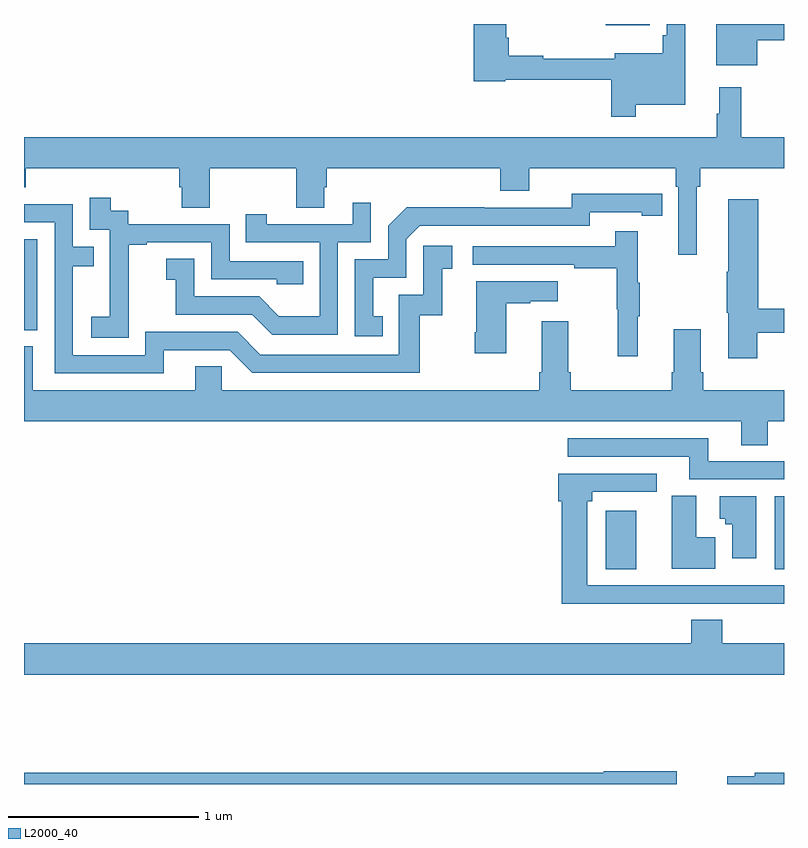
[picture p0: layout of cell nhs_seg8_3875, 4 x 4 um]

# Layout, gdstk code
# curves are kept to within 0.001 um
import gdstk
lib = gdstk.Library(unit=1e-6, precision=1e-09)
def R(c, l, rs):  # rectangles x0, y0, x1, y1
    for r in rs: c.add(gdstk.rectangle(r[:2], r[2:], *l))
def P(c, l, *ps):  # polygons
    for p in ps: c.add(gdstk.Polygon(p, *l))
L2000_40 = (2000, 40)

nhs_seg8_3875 = lib.new_cell('nhs_seg8_3875')
R(nhs_seg8_3875, L2000_40, [(352.061,1141.03,352.222,1141.339), (352.952,1141.03,353,1141.414), (349,1142.289,349.071,1142.766), (352.062,1143.893,352.294,1143.9)])
P(nhs_seg8_3875, L2000_40, [(352.858,1143.815),(353,1143.815),(353,1143.9),(352.643,1143.9),(352.643,1143.683),(352.858,1143.683)],
  [(352.219,1143.476),(352.48,1143.476),(352.48,1143.9),(352.383,1143.9),(352.383,1143.841),(352.363,1143.841),(352.363,1143.745),(352.109,1143.745),(352.109,1143.716),(351.734,1143.716),(351.734,1143.734),(351.551,1143.734),(351.551,1143.828),(351.538,1143.828),(351.538,1143.9),(351.368,1143.9),(351.368,1143.598),(351.534,1143.598),(351.534,1143.606),(352.09,1143.606),(352.09,1143.411),(352.219,1143.411)],
  [(349,1143.041),(349.01,1143.041),(349.01,1143.14),(349.817,1143.14),(349.817,1143.042),(349.829,1143.042),(349.829,1142.932),(349.977,1142.932),(349.977,1143.14),(350.434,1143.14),(350.434,1142.932),(350.581,1142.932),(350.581,1143.042),(350.594,1143.042),(350.594,1143.14),(351.506,1143.14),(351.506,1143.023),(351.658,1143.023),(351.658,1143.14),(352.43,1143.14),(352.43,1143.044),(352.443,1143.044),(352.443,1142.685),(352.54,1142.685),(352.54,1143.044),(352.559,1143.044),(352.559,1143.14),(353,1143.14),(353,1143.304),(352.775,1143.304),(352.775,1143.568),(352.658,1143.568),(352.658,1143.428),(352.647,1143.428),(352.647,1143.304),(349,1143.304)],
  [(350.888,1142.361),(350.839,1142.361),(350.839,1142.565),(351.012,1142.565),(351.012,1142.766),(351.084,1142.838),(351.978,1142.838),(351.978,1142.91),(352.25,1142.91),(352.25,1142.89),(352.358,1142.89),(352.358,1143.006),(351.882,1143.007),(351.882,1142.934),(351.422,1142.934),(351.422,1142.936),(351.014,1142.936),(350.916,1142.838),(350.916,1142.661),(350.742,1142.661),(350.742,1142.256),(350.888,1142.256)],
  [(349.551,1142.455),(349.55,1142.455),(349.55,1142.739),(349.645,1142.739),(349.645,1142.751),(349.986,1142.751),(349.986,1142.556),(350.331,1142.556),(350.331,1142.529),(350.471,1142.529),(350.471,1142.652),(350.082,1142.652),(350.082,1142.847),(349.548,1142.847),(349.548,1142.916),(349.456,1142.916),(349.456,1142.986),(349.347,1142.986),(349.347,1142.817),(349.452,1142.817),(349.452,1142.588),(349.451,1142.588),(349.451,1142.359),(349.353,1142.359),(349.353,1142.249),(349.551,1142.249)],
  [(352.86,1142.274),(353,1142.274),(353,1142.402),(352.865,1142.402),(352.865,1142.977),(352.706,1142.977),(352.706,1142.597),(352.699,1142.597),(352.699,1142.379),(352.706,1142.379),(352.706,1142.142),(352.86,1142.142)],
  [(350.652,1142.751),(350.826,1142.751),(350.826,1142.959),(350.729,1142.959),(350.729,1142.847),(350.278,1142.847),(350.278,1142.899),(350.167,1142.899),(350.167,1142.751),(350.556,1142.751),(350.556,1142.362),(350.342,1142.362),(350.238,1142.466),(349.896,1142.466),(349.896,1142.665),(349.749,1142.665),(349.749,1142.555),(349.798,1142.555),(349.798,1142.37),(350.201,1142.37),(350.306,1142.265),(350.652,1142.265)],
  [(349.735,1142.184),(350.082,1142.184),(350.202,1142.064),(351.082,1142.064),(351.082,1142.367),(351.2,1142.367),(351.2,1142.613),(351.253,1142.613),(351.253,1142.734),(351.102,1142.734),(351.102,1142.475),(350.973,1142.475),(350.973,1142.16),(350.244,1142.16),(350.124,1142.28),(349.638,1142.28),(349.638,1142.157),(349.257,1142.157),(349.257,1142.626),(349.367,1142.626),(349.367,1142.727),(349.257,1142.727),(349.257,1142.952),(349,1142.952),(349,1142.856),(349.161,1142.856),(349.161,1142.061),(349.735,1142.061)],
  [(352.229,1142.363),(352.24,1142.363),(352.24,1142.537),(352.229,1142.537),(352.229,1142.809),(352.111,1142.809),(352.111,1142.73),(351.363,1142.73),(351.363,1142.634),(351.895,1142.634),(351.895,1142.614),(352.119,1142.614),(352.119,1142.4),(352.126,1142.4),(352.126,1142.151),(352.229,1142.151)],
  [(351.538,1142.431),(351.665,1142.431),(351.665,1142.441),(351.808,1142.441),(351.808,1142.545),(351.38,1142.545),(351.38,1142.278),(351.373,1142.278),(351.373,1142.166),(351.538,1142.166)],
  [(352.915,1141.808),(353,1141.808),(353,1141.972),(352.574,1141.972),(352.574,1142.068),(352.561,1142.068),(352.561,1142.293),(352.421,1142.293),(352.421,1142.068),(352.409,1142.068),(352.409,1141.972),(351.878,1141.972),(351.878,1142.068),(351.865,1142.068),(351.865,1142.335),(351.725,1142.335),(351.725,1142.068),(351.713,1142.068),(351.713,1141.972),(350.04,1141.972),(350.04,1142.099),(349.901,1142.099),(349.901,1141.972),(349.045,1141.972),(349.045,1142.204),(349,1142.204),(349,1141.808),(352.775,1141.808),(352.775,1141.684),(352.915,1141.684)],
  [(353,1141.599),(352.6,1141.599),(352.6,1141.719),(351.861,1141.719),(351.861,1141.623),(352.502,1141.623),(352.502,1141.503),(353,1141.503)],
  [(352.427,1140.849),(352.759,1140.849),(352.759,1140.848),(353,1140.848),(353,1140.945),(351.964,1140.945),(351.964,1141.389),(351.99,1141.389),(351.99,1141.437),(352.33,1141.437),(352.33,1141.533),(351.812,1141.533),(351.812,1141.389),(351.83,1141.389),(351.83,1140.848),(352.427,1140.848)],
  [(352.639,1141.2),(352.537,1141.2),(352.537,1141.417),(352.409,1141.417),(352.409,1141.034),(352.639,1141.034)],
  [(352.855,1141.414),(352.661,1141.414),(352.661,1141.295),(352.692,1141.295),(352.692,1141.267),(352.727,1141.267),(352.727,1141.089),(352.855,1141.089)],
  [(353,1140.64),(352.676,1140.64),(352.676,1140.764),(352.511,1140.764),(352.511,1140.64),(349,1140.64),(349,1140.476),(353,1140.476)],
  [(352.435,1139.966),(352.05,1139.966),(352.05,1139.96),(349,1139.96),(349,1139.9),(352.435,1139.9)],
  [(353,1139.96),(352.846,1139.96),(352.846,1139.94),(352.7,1139.94),(352.7,1139.9),(353,1139.9)])

lib.write_gds('nhs_seg8_3875.gds')
